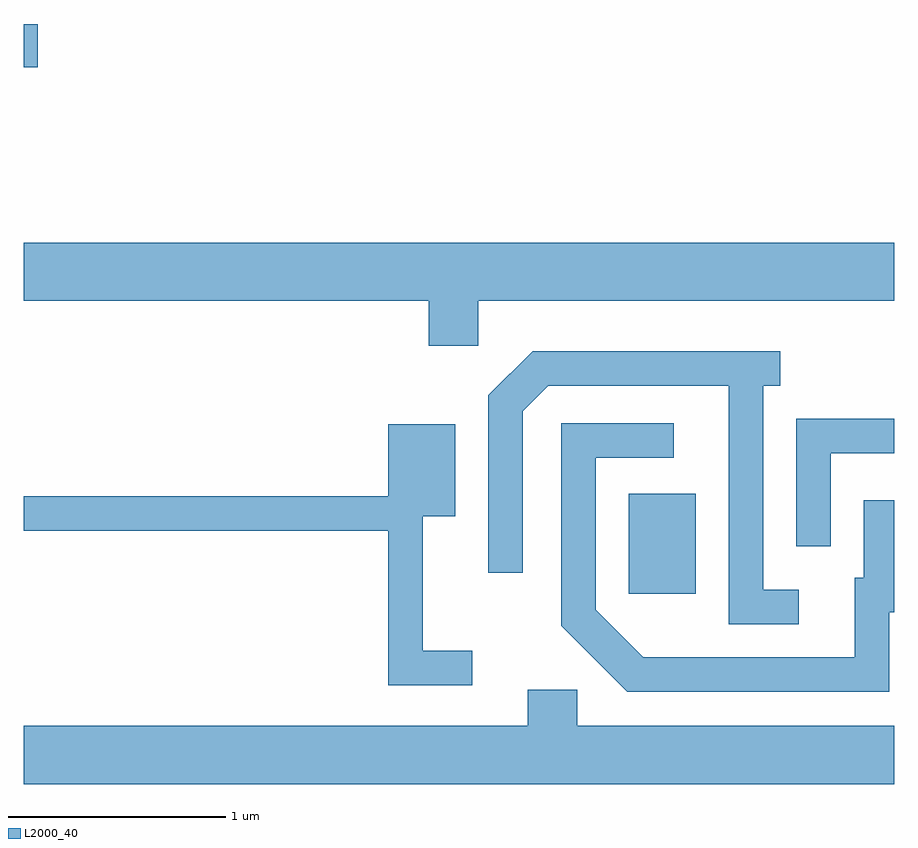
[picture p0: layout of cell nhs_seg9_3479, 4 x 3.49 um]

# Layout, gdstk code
import gdstk
lib = gdstk.Library(unit=1e-6, precision=1e-09)
def R(c, l, rs):  # rectangles x0, y0, x1, y1
    for r in rs: c.add(gdstk.rectangle(r[:2], r[2:], *l))
def P(c, l, *ps):  # polygons
    for p in ps: c.add(gdstk.Polygon(p, *l))
L2000_40 = (2000, 40)

nhs_seg9_3479 = lib.new_cell('nhs_seg9_3479')
R(nhs_seg9_3479, L2000_40, [(290.391,1983.811,290.699,1984.269), (287.611,1986.231,287.674,1986.429)])
P(nhs_seg9_3479, L2000_40, [(289.699,1985.156),(291.611,1985.156),(291.611,1985.424),(287.611,1985.424),(287.611,1985.156),(289.471,1985.156),(289.471,1984.951),(289.699,1984.951)],
  [(291.173,1983.829),(291.009,1983.829),(291.009,1984.766),(291.088,1984.766),(291.088,1984.924),(289.949,1984.924),(289.746,1984.722),(289.746,1983.908),(289.904,1983.908),(289.904,1984.649),(290.022,1984.766),(290.851,1984.766),(290.851,1983.671),(291.173,1983.671)],
  [(291.319,1984.456),(291.611,1984.456),(291.611,1984.614),(291.161,1984.614),(291.161,1984.028),(291.319,1984.028)],
  [(291.589,1983.726),(291.611,1983.726),(291.611,1984.239),(291.471,1984.239),(291.471,1983.884),(291.431,1983.884),(291.431,1983.519),(290.457,1983.519),(290.239,1983.737),(290.239,1984.436),(290.598,1984.436),(290.598,1984.594),(290.081,1984.594),(290.081,1983.664),(290.384,1983.361),(291.589,1983.361)],
  [(289.673,1983.549),(289.444,1983.549),(289.444,1984.166),(289.594,1984.166),(289.594,1984.589),(289.286,1984.589),(289.286,1984.259),(287.611,1984.259),(287.611,1984.101),(289.286,1984.101),(289.286,1983.391),(289.673,1983.391)],
  [(291.611,1983.204),(290.154,1983.204),(290.154,1983.369),(289.926,1983.369),(289.926,1983.204),(287.611,1983.204),(287.611,1982.936),(291.611,1982.936)])

lib.write_gds('nhs_seg9_3479.gds')
